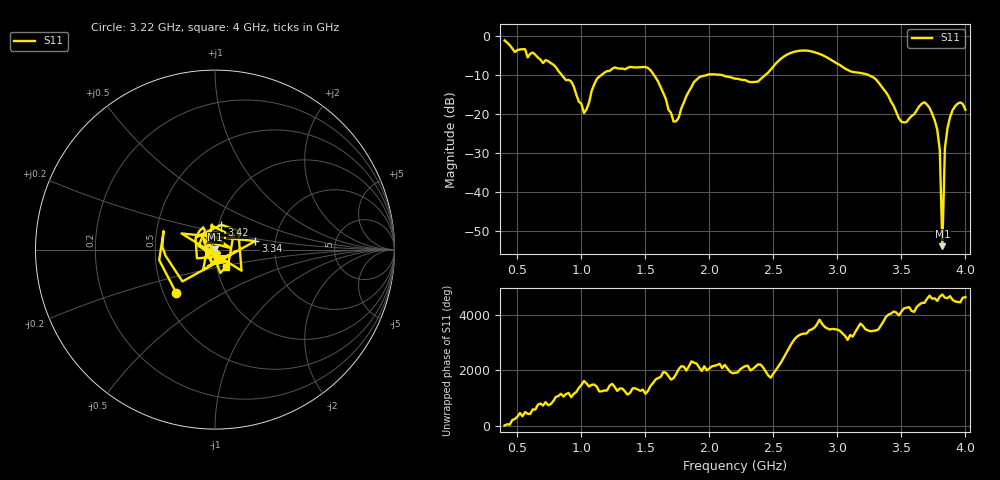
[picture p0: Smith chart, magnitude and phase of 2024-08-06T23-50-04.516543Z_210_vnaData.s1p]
!Created with skrf (http://scikit-rf.org).
# Hz S RI R 50.0
!freq ReS11 ImS11
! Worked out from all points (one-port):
!   181 points, 400 MHz to 4 GHz, reference 50 ohm
!   lowest |S11| = -53.9 dB at 3.82 GHz (marker M1), VSWR 1.00, Z = 50.2 + j0.117 ohm
!   |S11| at or under -10 dB: 1.566 GHz to 1.985 GHz (418.6 MHz wide, 23.6 % of centre); 2.088 GHz to 2.439 GHz (350.7 MHz wide, 15.5 % of centre); 3.24 GHz to end of sweep (the widest 3 of 4)
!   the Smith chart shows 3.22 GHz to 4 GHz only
!   S11 on the Smith chart (normalised r, x): 3.22 GHz: 0.58, -0.32; 3.34 GHz: 1.57, +0.16; 3.42 GHz: 1.03, +0.29; 4 GHz: 1.11, -0.21
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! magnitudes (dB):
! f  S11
! 400 MHz  -1.2
! 860 MHz  -10.6
! 920 MHz  -11.7
! 1.02 GHz  -19.8
! 1.12 GHz  -11.1
! 1.3 GHz  -8.4
! 1.52 GHz  -8.3
! 1.6 GHz  -11.8
! 1.72 GHz  -22.0
! 1.76 GHz  -21.0
! 1.92 GHz  -10.6
! 2.2 GHz  -11.0
! 2.38 GHz  -11.7
! 2.66 GHz  -4.1
! 3.1 GHz  -9.1
! 3.22 GHz  -9.8
! 3.34 GHz  -12.8
! 3.42 GHz  -16.9
! 3.5 GHz  -22.0
! 3.56 GHz  -21.2
! 3.68 GHz  -17.0
! 3.78 GHz  -24.0
! 3.8 GHz  -29.3
! 3.82 GHz  -53.9
! 3.84 GHz  -28.8
! 3.86 GHz  -23.7
! 3.92 GHz  -18.0
! 4 GHz  -18.9
